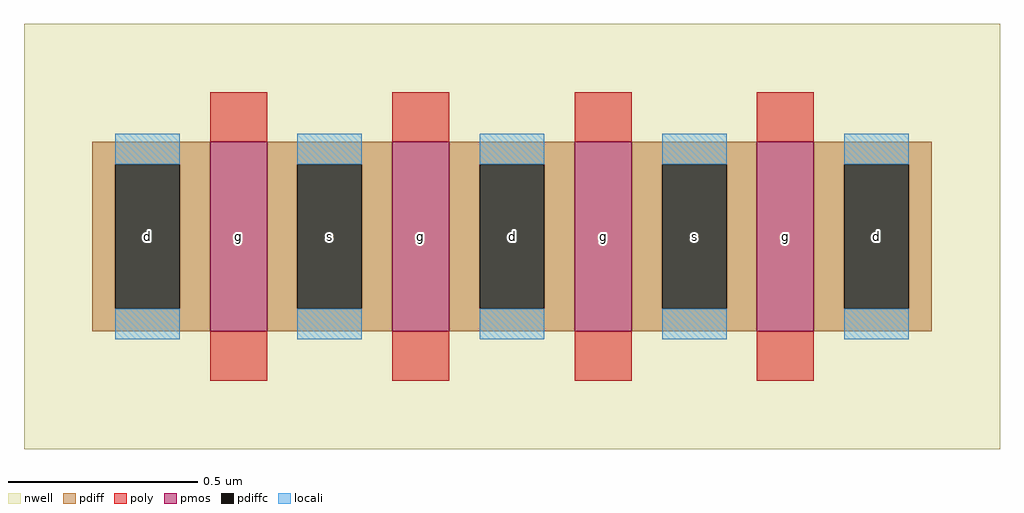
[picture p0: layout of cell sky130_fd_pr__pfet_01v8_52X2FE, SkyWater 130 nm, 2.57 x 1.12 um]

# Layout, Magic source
magic
tech sky130A
magscale 1 2
<< nwell >>
rect -257 -112 257 112
<< pmos >>
rect -159 -50 -129 50
rect -63 -50 -33 50
rect 33 -50 63 50
rect 129 -50 159 50
<< pdiff >>
rect -221 38 -159 50
rect -221 -38 -209 38
rect -175 -38 -159 38
rect -221 -50 -159 -38
rect -129 38 -63 50
rect -129 -38 -113 38
rect -79 -38 -63 38
rect -129 -50 -63 -38
rect -33 38 33 50
rect -33 -38 -17 38
rect 17 -38 33 38
rect -33 -50 33 -38
rect 63 38 129 50
rect 63 -38 79 38
rect 113 -38 129 38
rect 63 -50 129 -38
rect 159 38 221 50
rect 159 -38 175 38
rect 209 -38 221 38
rect 159 -50 221 -38
<< pdiffc >>
rect -209 -38 -175 38
rect -113 -38 -79 38
rect -17 -38 17 38
rect 79 -38 113 38
rect 175 -38 209 38
<< poly >>
rect -159 50 -129 76
rect -63 50 -33 76
rect 33 50 63 76
rect 129 50 159 76
rect -159 -76 -129 -50
rect -63 -76 -33 -50
rect 33 -76 63 -50
rect 129 -76 159 -50
<< locali >>
rect -209 38 -175 54
rect -209 -54 -175 -38
rect -113 38 -79 54
rect -113 -54 -79 -38
rect -17 38 17 54
rect -17 -54 17 -38
rect 79 38 113 54
rect 79 -54 113 -38
rect 175 38 209 54
rect 175 -54 209 -38
<< labels >>
flabel locali -192 0 -192 0 0 FreeSans 80 0 0 0 d
flabel poly -159 -50 -129 50 0 FreeSans 80 0 0 0 g
flabel locali -96 0 -96 0 0 FreeSans 80 0 0 0 s
flabel poly -63 -50 -33 50 0 FreeSans 80 0 0 0 g
flabel locali 0 0 0 0 0 FreeSans 80 0 0 0 d
flabel poly 33 -50 63 50 0 FreeSans 80 0 0 0 g
flabel locali 192 0 192 0 0 FreeSans 80 0 0 0 d
flabel locali 96 0 96 0 0 FreeSans 80 0 0 0 s
flabel poly 129 -50 159 50 0 FreeSans 80 0 0 0 g
<< properties >>
string gencell sky130_fd_pr__pfet_01v8
string library sky130
string parameters w 0.5 l 0.15 m 1 nf 4 diffcov 100 polycov 100 guard 0 glc 0 grc 0 gtc 0 gbc 0 tbcov 100 rlcov 100 topc 0 botc 0 poverlap 0 doverlap 1 lmin 0.15 wmin 0.42 compatible {sky130_fd_pr__pfet_01v8  sky130_fd_pr__pfet_01v8_lvt sky130_fd_pr__pfet_01v8_hvt  sky130_fd_pr__pfet_g5v0d10v5} full_metal 0 viasrc 100 viadrn 100 viagate 100 viagb 0 viagr 0 viagl 0 viagt 0
<< end >>
